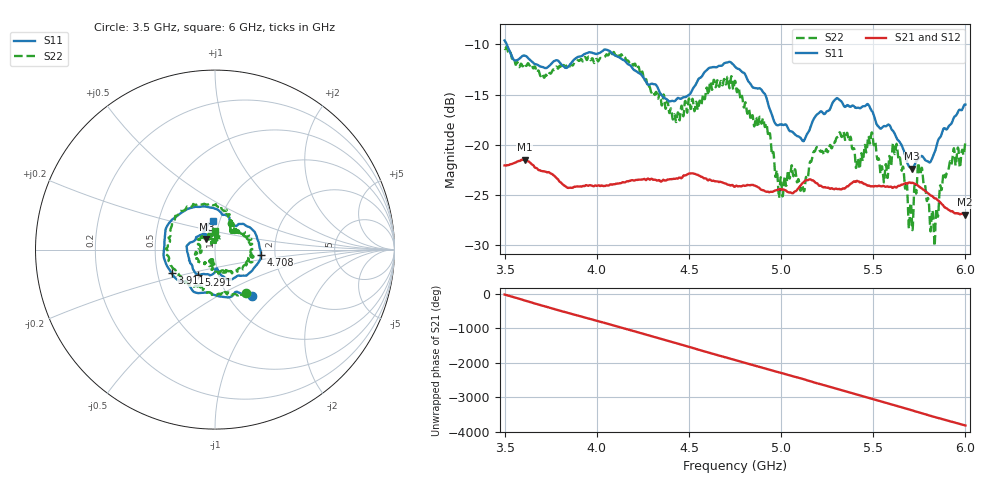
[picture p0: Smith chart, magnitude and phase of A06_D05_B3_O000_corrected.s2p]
! Created with skrf 1.9.0 (http://scikit-rf.org).
# Hz S RI R 50.0
!freq ReS11 ImS11 ReS21 ImS21 ReS12 ImS12 ReS22 ImS22
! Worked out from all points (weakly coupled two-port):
!   1601 points, 3.5 GHz to 6 GHz, reference 50 ohm
!   highest |S21| = -21.47 dB at 3.609 GHz (marker M1); lowest = -26.9 dB at 5.995 GHz (marker M2)
!   lowest |S11| = -22.4 dB at 5.711 GHz (marker M3), VSWR 1.16, Z = 45.1 + j5.34 ohm
!   |S11| at or under -10 dB: 3.511 GHz to end of sweep
!   |S22| runs from -30.1 to -10.3 dB; largest |S21 - S12| = 0.00094
!   S11 on the Smith chart (normalised r, x): 3.5 GHz: 1.27, -0.74; 3.911 GHz: 0.59, -0.17; 4.708 GHz: 1.68, -0.11; 5.291 GHz: 0.80, -0.23; 6 GHz: 0.94, +0.30
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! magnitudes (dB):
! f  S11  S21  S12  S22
! 3.5 GHz  -9.6  -22.0  -22.0  -10.4
! 3.609 GHz  -11.1  -21.5  -21.5  -11.9
! 3.911 GHz  -11.2  -24.1  -24.1  -11.5
! 3.917 GHz  -11.2  -24.1  -24.1  -11.5
! 4.141 GHz  -11.5  -23.7  -23.7  -11.3
! 4.334 GHz  -14.5  -23.5  -23.5  -15.4
! 4.439 GHz  -15.3  -23.4  -23.3  -16.8
! 4.708 GHz  -11.8  -23.9  -23.9  -13.3
! 4.75 GHz  -12.2  -24.2  -24.1  -13.6
! 4.912 GHz  -15.0  -24.6  -24.6  -18.2
! 4.998 GHz  -18.0  -24.4  -24.4  -23.2
! 5.116 GHz  -19.6  -23.8  -23.8  -24.0
! 5.167 GHz  -17.8  -23.5  -23.5  -21.5
! 5.291 GHz  -15.5  -24.4  -24.4  -19.7
! 5.584 GHz  -18.0  -24.2  -24.2  -21.6
! 5.634 GHz  -19.5  -24.1  -24.1  -21.1
! 5.711 GHz  -22.4  -23.8  -23.7  -28.0
! 5.753 GHz  -21.2  -24.2  -24.2  -23.0
! 5.839 GHz  -20.4  -25.3  -25.3  -27.3
! 5.875 GHz  -18.7  -25.9  -25.9  -23.8
! 5.995 GHz  -16.0  -26.9  -26.9  -20.4
! 6 GHz  -16.0  -26.9  -26.9  -19.7
